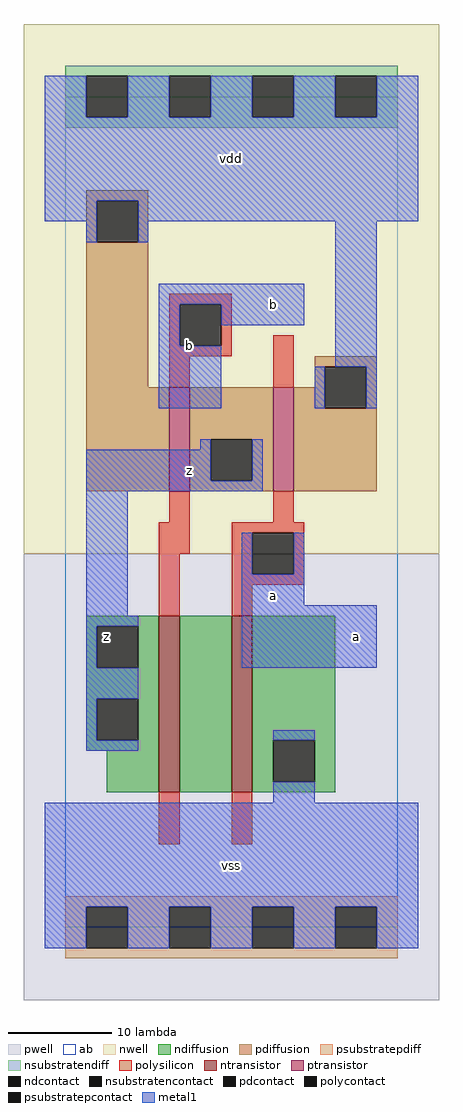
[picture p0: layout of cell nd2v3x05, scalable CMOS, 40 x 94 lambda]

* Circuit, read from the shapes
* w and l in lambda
.subckt nd2v3x05 a b vdd vss z
M1 n1 b z vss nfet w=17 l=2
M2 vss a n1 vss nfet w=17 l=2
M3 z b vdd vdd pfet w=10 l=2
M4 vdd a z vdd pfet w=10 l=2
.ends

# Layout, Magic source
magic
tech scmos
<< ab >>
rect 0 0 32 80
<< pwell >>
rect -4 -7 36 36
<< nwell >>
rect -4 36 36 87
<< polysilicon >>
rect 10 60 16 61
rect 10 56 11 60
rect 15 56 16 60
rect 10 55 16 56
rect 10 52 12 55
rect 20 52 22 57
rect 10 39 12 42
rect 20 39 22 42
rect 9 36 12 39
rect 16 38 23 39
rect 9 30 11 36
rect 16 34 18 38
rect 22 34 23 38
rect 16 33 23 34
rect 16 30 18 33
rect 9 8 11 13
rect 16 8 18 13
<< ndiffusion >>
rect 2 29 9 30
rect 2 25 3 29
rect 7 25 9 29
rect 2 22 9 25
rect 2 18 3 22
rect 7 18 9 22
rect 2 17 9 18
rect 4 13 9 17
rect 11 13 16 30
rect 18 18 26 30
rect 18 14 20 18
rect 24 14 26 18
rect 18 13 26 14
<< pdiffusion >>
rect 2 70 8 71
rect 2 66 3 70
rect 7 66 8 70
rect 2 52 8 66
rect 24 54 30 55
rect 24 52 25 54
rect 2 42 10 52
rect 12 47 20 52
rect 12 43 14 47
rect 18 43 20 47
rect 12 42 20 43
rect 22 50 25 52
rect 29 50 30 54
rect 22 42 30 50
<< metal1 >>
rect -2 78 2 82
rect 6 78 10 82
rect 14 78 18 82
rect 22 78 26 82
rect 30 78 34 82
rect -2 70 34 78
rect -2 68 3 70
rect 2 66 3 68
rect 7 68 34 70
rect 7 66 8 68
rect 9 60 23 62
rect 9 56 11 60
rect 15 58 23 60
rect 9 50 15 56
rect 26 54 30 68
rect 24 50 25 54
rect 29 50 30 54
rect 13 46 14 47
rect 2 43 14 46
rect 18 43 19 47
rect 2 42 19 43
rect 2 30 6 42
rect 17 34 18 38
rect 22 34 23 38
rect 17 31 23 34
rect 2 29 7 30
rect 2 25 3 29
rect 17 25 30 31
rect 2 22 7 25
rect 2 18 3 22
rect 2 17 7 18
rect 20 18 24 19
rect 20 12 24 14
rect -2 2 34 12
rect -2 -2 2 2
rect 6 -2 10 2
rect 14 -2 18 2
rect 22 -2 26 2
rect 30 -2 34 2
<< ntransistor >>
rect 9 13 11 30
rect 16 13 18 30
<< ptransistor >>
rect 10 42 12 52
rect 20 42 22 52
<< polycontact >>
rect 11 56 15 60
rect 18 34 22 38
<< ndcontact >>
rect 3 25 7 29
rect 3 18 7 22
rect 20 14 24 18
<< pdcontact >>
rect 3 66 7 70
rect 14 43 18 47
rect 25 50 29 54
<< psubstratepcontact >>
rect 2 -2 6 2
rect 10 -2 14 2
rect 18 -2 22 2
rect 26 -2 30 2
<< nsubstratencontact >>
rect 2 78 6 82
rect 10 78 14 82
rect 18 78 22 82
rect 26 78 30 82
<< psubstratepdiff >>
rect 0 2 32 3
rect 0 -2 2 2
rect 6 -2 10 2
rect 14 -2 18 2
rect 22 -2 26 2
rect 30 -2 32 2
rect 0 -3 32 -2
<< nsubstratendiff >>
rect 0 82 32 83
rect 0 78 2 82
rect 6 78 10 82
rect 14 78 18 82
rect 22 78 26 82
rect 30 78 32 82
rect 0 77 32 78
<< labels >>
rlabel ndcontact 4 28 4 28 6 z
rlabel metal1 12 44 12 44 6 z
rlabel metal1 12 56 12 56 6 b
rlabel metal1 16 6 16 6 6 vss
rlabel metal1 20 32 20 32 6 a
rlabel metal1 20 60 20 60 6 b
rlabel metal1 16 74 16 74 6 vdd
rlabel metal1 28 28 28 28 6 a
<< end >>
